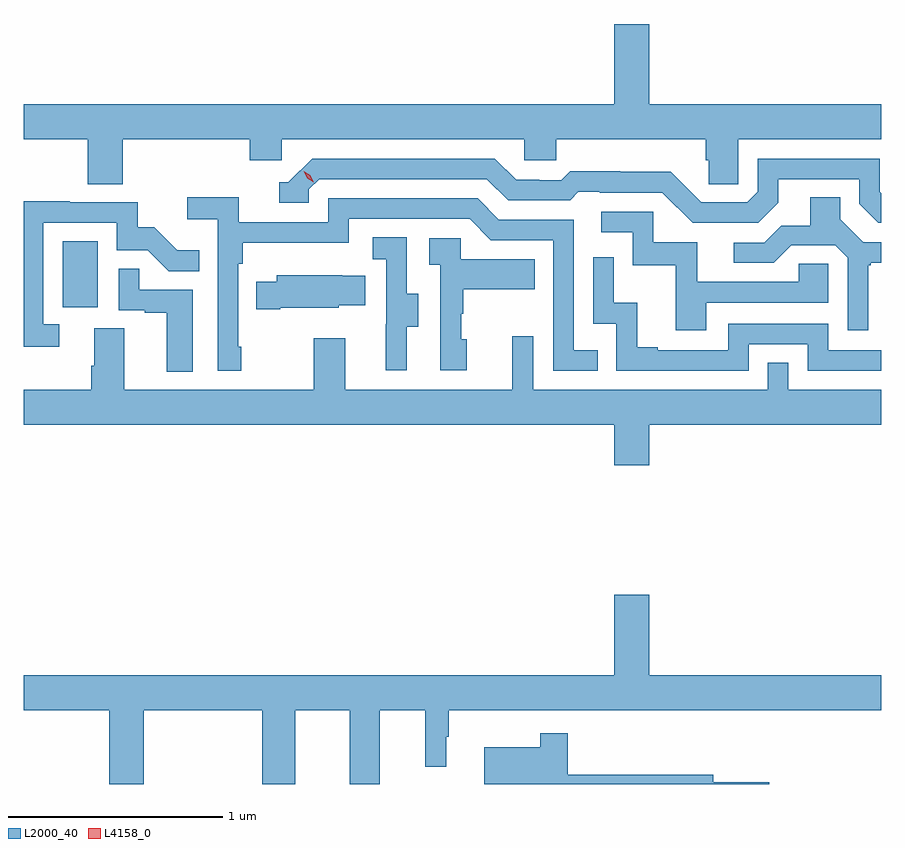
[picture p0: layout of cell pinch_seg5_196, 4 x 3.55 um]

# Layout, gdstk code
import gdstk
lib = gdstk.Library(unit=1e-6, precision=1e-09)
def R(c, l, rs):  # rectangles x0, y0, x1, y1
    for r in rs: c.add(gdstk.rectangle(r[:2], r[2:], *l))
def P(c, l, *ps):  # polygons
    for p in ps: c.add(gdstk.Polygon(p, *l))
L2000_40 = (2000, 40)
L4158_0 = (4158, 0)

pinch_seg5_196 = lib.new_cell('pinch_seg5_196')
R(pinch_seg5_196, L2000_40, [(1001.594,902.598,1001.758,902.905)])
P(pinch_seg5_196, L2000_40, [(1001.876,903.38),(1002.467,903.38),(1002.467,903.282),(1002.618,903.282),(1002.618,903.38),(1003.749,903.38),(1003.749,903.282),(1003.899,903.282),(1003.899,903.38),(1004.597,903.38),(1004.597,903.282),(1004.611,903.282),(1004.611,903.172),(1004.748,903.172),(1004.748,903.38),(1005.414,903.38),(1005.414,903.544),(1004.332,903.544),(1004.332,903.919),(1004.168,903.919),(1004.168,903.544),(1001.414,903.544),(1001.414,903.38),(1001.711,903.38),(1001.711,903.172),(1001.876,903.172)],
  [(1004.935,903.085),(1004.935,903.195),(1005.312,903.195),(1005.312,903.081),(1005.402,902.991),(1005.414,902.991),(1005.414,903.129),(1005.408,903.135),(1005.408,903.291),(1004.838,903.291),(1004.838,903.135),(1004.79,903.087),(1004.574,903.087),(1004.432,903.229),(1004.196,903.229),(1004.196,903.232),(1003.963,903.232),(1003.921,903.189),(1003.818,903.189),(1003.818,903.192),(1003.711,903.192),(1003.612,903.291),(1002.759,903.291),(1002.648,903.18),(1002.605,903.18),(1002.605,903.084),(1002.744,903.084),(1002.744,903.147),(1002.792,903.195),(1003.575,903.195),(1003.674,903.096),(1003.963,903.096),(1004.002,903.135),(1004.101,903.135),(1004.101,903.132),(1004.394,903.132),(1004.535,902.991),(1004.841,902.991)],
  [(1002.427,902.413),(1002.414,902.413),(1002.414,902.801),(1002.434,902.801),(1002.434,902.897),(1002.93,902.897),(1002.93,903.009),(1003.494,903.009),(1003.593,902.91),(1003.884,902.91),(1003.884,902.301),(1004.093,902.301),(1004.093,902.397),(1003.98,902.397),(1003.98,903.006),(1003.63,903.006),(1003.531,903.105),(1002.834,903.105),(1002.834,902.994),(1002.416,902.994),(1002.416,903.11),(1002.177,903.11),(1002.177,903.008),(1002.318,903.008),(1002.318,902.301),(1002.427,902.301)],
  [(1005.355,902.793),(1005.367,902.793),(1005.367,902.804),(1005.414,902.804),(1005.414,902.901),(1005.33,902.901),(1005.223,903.008),(1005.223,903.11),(1005.083,903.11),(1005.083,902.978),(1004.948,902.978),(1004.868,902.898),(1004.727,902.898),(1004.727,902.805),(1004.914,902.805),(1004.995,902.886),(1005.201,902.886),(1005.258,902.829),(1005.258,902.49),(1005.355,902.49)],
  [(1001.578,902.517),(1001.505,902.517),(1001.505,902.991),(1001.847,902.991),(1001.847,902.862),(1001.992,902.862),(1002.09,902.764),(1002.233,902.764),(1002.233,902.863),(1002.129,902.863),(1002.022,902.97),(1001.946,902.97),(1001.946,903.087),(1001.627,903.087),(1001.627,903.092),(1001.414,903.092),(1001.414,902.412),(1001.578,902.412)],
  [(1004.599,902.619),(1005.168,902.619),(1005.168,902.799),(1005.031,902.799),(1005.031,902.715),(1004.557,902.715),(1004.557,902.901),(1004.352,902.901),(1004.352,903.042),(1004.109,903.042),(1004.109,902.946),(1004.256,902.946),(1004.256,902.793),(1004.455,902.793),(1004.455,902.49),(1004.599,902.49)],
  [(1003.201,902.506),(1003.255,902.506),(1003.255,902.661),(1003.2,902.661),(1003.2,902.924),(1003.041,902.924),(1003.041,902.821),(1003.104,902.821),(1003.104,902.517),(1003.103,902.517),(1003.103,902.304),(1003.201,902.304)],
  [(1003.48,902.448),(1003.455,902.448),(1003.455,902.567),(1003.465,902.567),(1003.465,902.681),(1003.799,902.681),(1003.799,902.821),(1003.452,902.821),(1003.452,902.919),(1003.305,902.919),(1003.305,902.795),(1003.356,902.795),(1003.356,902.304),(1003.48,902.304)],
  [(1004.796,902.424),(1005.072,902.424),(1005.072,902.301),(1005.414,902.301),(1005.414,902.397),(1005.168,902.397),(1005.168,902.52),(1004.7,902.52),(1004.7,902.397),(1004.371,902.397),(1004.371,902.41),(1004.276,902.41),(1004.276,902.618),(1004.166,902.618),(1004.166,902.83),(1004.07,902.83),(1004.07,902.52),(1004.178,902.52),(1004.178,902.301),(1004.796,902.301)],
  [(1002.202,902.679),(1001.951,902.679),(1001.951,902.777),(1001.856,902.777),(1001.856,902.583),(1001.977,902.583),(1001.977,902.571),(1002.08,902.571),(1002.08,902.297),(1002.202,902.297)],
  [(1002.61,902.594),(1002.882,902.594),(1002.882,902.606),(1003.007,902.606),(1003.007,902.743),(1002.899,902.743),(1002.899,902.746),(1002.593,902.746),(1002.593,902.716),(1002.499,902.716),(1002.499,902.587),(1002.61,902.587)],
  [(1004.332,902.048),(1005.414,902.048),(1005.414,902.212),(1004.982,902.212),(1004.982,902.339),(1004.886,902.339),(1004.886,902.212),(1003.791,902.212),(1003.791,902.461),(1003.694,902.461),(1003.694,902.212),(1002.913,902.212),(1002.913,902.452),(1002.766,902.452),(1002.766,902.212),(1001.881,902.212),(1001.881,902.498),(1001.741,902.498),(1001.741,902.324),(1001.729,902.324),(1001.729,902.212),(1001.414,902.212),(1001.414,902.048),(1004.168,902.048),(1004.168,901.86),(1004.332,901.86)],
  [(1001.972,900.716),(1002.527,900.716),(1002.527,900.372),(1002.679,900.372),(1002.679,900.716),(1002.935,900.716),(1002.935,900.372),(1003.075,900.372),(1003.075,900.716),(1003.286,900.716),(1003.286,900.453),(1003.384,900.453),(1003.384,900.593),(1003.396,900.593),(1003.396,900.716),(1005.414,900.716),(1005.414,900.88),(1004.332,900.88),(1004.332,901.255),(1004.168,901.255),(1004.168,900.88),(1001.414,900.88),(1001.414,900.716),(1001.812,900.716),(1001.812,900.372),(1001.972,900.372)],
  [(1004.893,900.381),(1004.632,900.381),(1004.632,900.415),(1003.952,900.415),(1003.952,900.61),(1003.824,900.61),(1003.824,900.544),(1003.562,900.544),(1003.562,900.372),(1004.893,900.372)])
P(pinch_seg5_196, L4158_0, [(1002.767,903.18),(1002.736,903.199),(1002.719,903.232),(1002.719,903.232),(1002.72,903.232),(1002.751,903.213),(1002.767,903.18),(1002.767,903.18)])

lib.write_gds('pinch_seg5_196.gds')
